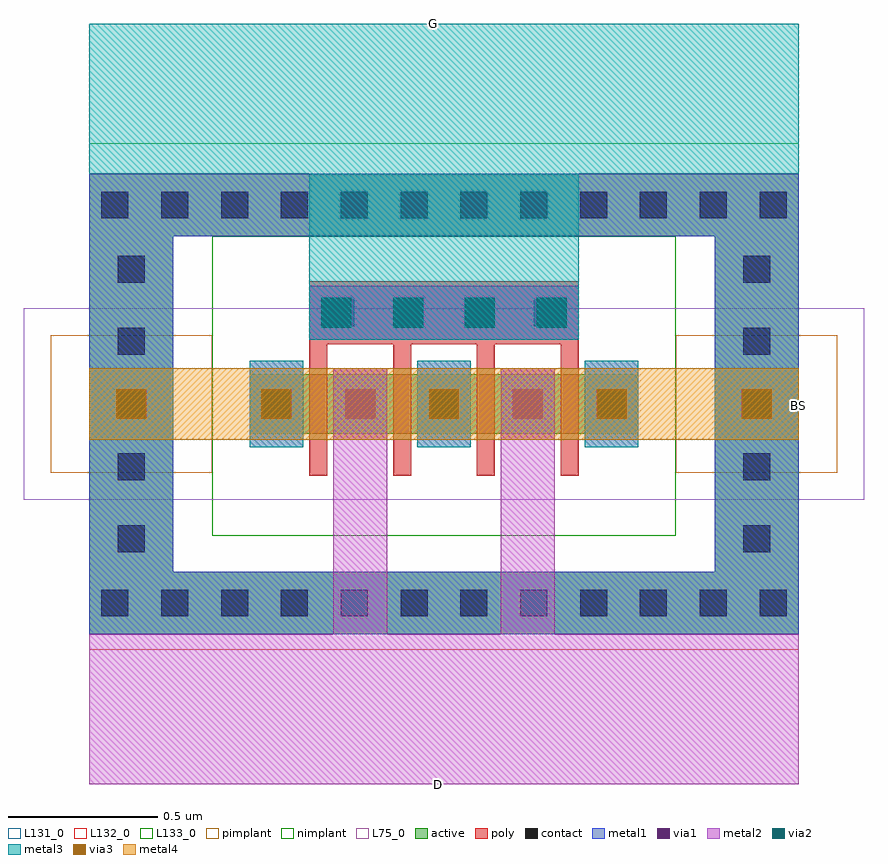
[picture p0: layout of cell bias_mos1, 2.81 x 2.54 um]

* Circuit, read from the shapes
.subckt bias_mos1 BS D G
M1 D G BS BS nfet w=0.2u l=0.06u m=4
.ends

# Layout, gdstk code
import gdstk
lib = gdstk.Library(unit=1e-6, precision=1e-09)
def R(c, l, rs):  # rectangles x0, y0, x1, y1
    for r in rs: c.add(gdstk.rectangle(r[:2], r[2:], *l))
def A(c, l, x, y, w, h, nx, ny, dx, dy):  # array of equal rectangles
    R(c, l, [(x+i*dx, y+j*dy, x+i*dx+w, y+j*dy+h) for i in range(nx) for j in range(ny)])
active = (6, 0)
poly = (17, 0)
pimplant = (25, 0)
nimplant = (26, 0)
contact = (30, 0)
metal1 = (31, 0)
metal2 = (32, 0)
metal3 = (33, 0)
metal4 = (34, 0)
via1 = (51, 0)
via2 = (52, 0)
via3 = (53, 0)
L75_0 = (75, 0)
L131_0 = (131, 0)
L132_0 = (132, 0)
L133_0 = (133, 0)

nch_cdns_760715951210 = lib.new_cell('nch_CDNS_760715951210')
R(nch_cdns_760715951210, active, [(-0.735,0,-0.455,0.2), (-0.195,0,0,0.2), (0,0,0.06,0.2), (0.06,0,0.9,0.2), (0.9,0,1.095,0.2), (1.355,0,1.635,0.2)])
A(nch_cdns_760715951210, poly, 0, -0.14, 0.06, 0.14, 4, 1, 0.28, 0)
A(nch_cdns_760715951210, poly, 0, 0, 0.06, 0.2, 4, 1, 0.28, 0)
A(nch_cdns_760715951210, poly, 0, 0.2, 0.06, 0.1, 4, 1, 0.28, 0)
R(nch_cdns_760715951210, poly, [(0,0.3,0.9,0.51)])
R(nch_cdns_760715951210, pimplant, [(-0.865,-0.13,-0.325,0.33), (1.225,-0.13,1.765,0.33)])
R(nch_cdns_760715951210, nimplant, [(-0.325,-0.34,1.225,0.54), (-0.325,0.15,1.225,0.66)])
A(nch_cdns_760715951210, contact, -0.155, 0.055, 0.09, 0.09, 5, 1, 0.28, 0)
A(nch_cdns_760715951210, contact, 0.06, 0.36, 0.09, 0.09, 4, 1, 0.23, 0)
R(nch_cdns_760715951210, contact, [(-0.64,0.055,-0.55,0.145), (1.45,0.055,1.54,0.145)])
A(nch_cdns_760715951210, metal1, -0.155, -0.02, 0.09, 0.24, 5, 1, 0.28, 0)
R(nch_cdns_760715951210, L75_0, [(-0.955,-0.22,1.855,0.42)])
nch_cdns_760715951210.add(gdstk.FlexPath([(0,0.405),(0.9,0.405)], 0.09, ends="flush", simple_path=True, layer=31, datatype=0))  # metal1
nch_cdns_760715951210.add(gdstk.FlexPath([(1.495,-0.02),(1.495,0.22)], 0.28, ends="flush", simple_path=True, layer=31, datatype=0))  # metal1
nch_cdns_760715951210.add(gdstk.FlexPath([(-0.595,-0.02),(-0.595,0.22)], 0.28, ends="flush", simple_path=True, layer=31, datatype=0))  # metal1
nch_cdns_760715951210.add(gdstk.Label('[@instanceName]', (0.03,0.1), layer=127, texttype=0))
nch_cdns_760715951210.add(gdstk.Label('nch\n0.8/0.06\n', (0,0), layer=127, texttype=0))
nch_cdns_760715951210.add(gdstk.Label('B', (1.495,0.1), layer=127, texttype=0))
nch_cdns_760715951210.add(gdstk.Label('B', (-0.595,0.1), layer=127, texttype=0))
nch_cdns_760715951210.add(gdstk.Label('D', (0.17,0.1), layer=127, texttype=0))
nch_cdns_760715951210.add(gdstk.Label('S', (0.45,0.1), layer=127, texttype=0))
nch_cdns_760715951210.add(gdstk.Label('D', (0.73,0.1), layer=127, texttype=0))
nch_cdns_760715951210.add(gdstk.Label('S', (1.01,0.1), layer=127, texttype=0))
nch_cdns_760715951210.add(gdstk.Label('S', (-0.11,0.1), layer=127, texttype=0))

m3_m2_cdns_760715951210 = lib.new_cell('M3_M2_CDNS_760715951210')
R(m3_m2_cdns_760715951210, metal2, [(-0.45,-0.09,0.45,0.09)])
R(m3_m2_cdns_760715951210, metal3, [(-0.45,-0.09,0.45,0.09)])
A(m3_m2_cdns_760715951210, via2, -0.41, -0.05, 0.1, 0.1, 4, 1, 0.24, 0)

m2_m1_cdns_760715951211 = lib.new_cell('M2_M1_CDNS_760715951211')
R(m2_m1_cdns_760715951211, metal1, [(-0.45,-0.09,0.45,0.09)])
R(m2_m1_cdns_760715951211, metal2, [(-0.45,-0.09,0.45,0.09)])
A(m2_m1_cdns_760715951211, via1, -0.41, -0.05, 0.1, 0.1, 4, 1, 0.24, 0)

m4_m3_cdns_760715951212 = lib.new_cell('M4_M3_CDNS_760715951212')
R(m4_m3_cdns_760715951212, metal3, [(-0.09,-0.145,0.09,0.145)])
R(m4_m3_cdns_760715951212, metal4, [(-0.09,-0.12,0.09,0.12)])
R(m4_m3_cdns_760715951212, via3, [(-0.05,-0.05,0.05,0.05)])

m3_m2_cdns_760715951213 = lib.new_cell('M3_M2_CDNS_760715951213')
R(m3_m2_cdns_760715951213, metal2, [(-0.09,-0.145,0.09,0.145)])
R(m3_m2_cdns_760715951213, metal3, [(-0.09,-0.145,0.09,0.145)])
R(m3_m2_cdns_760715951213, via2, [(-0.05,-0.05,0.05,0.05)])

m2_m1_cdns_760715951214 = lib.new_cell('M2_M1_CDNS_760715951214')
R(m2_m1_cdns_760715951214, metal1, [(-0.09,-0.12,0.09,0.12)])
R(m2_m1_cdns_760715951214, metal2, [(-0.09,-0.145,0.09,0.145)])
R(m2_m1_cdns_760715951214, via1, [(-0.05,-0.05,0.05,0.05)])

m2_m1_cdns_760715951215 = lib.new_cell('M2_M1_CDNS_760715951215')
R(m2_m1_cdns_760715951215, metal1, [(-0.09,-0.12,0.09,0.12)])
R(m2_m1_cdns_760715951215, metal2, [(-0.09,-0.12,0.09,0.12)])
R(m2_m1_cdns_760715951215, via1, [(-0.05,-0.05,0.05,0.05)])

m1_od_cdns_760715951216 = lib.new_cell('M1_OD_CDNS_760715951216')
R(m1_od_cdns_760715951216, active, [(-0.14,-0.23,0.14,0.23)])
R(m1_od_cdns_760715951216, contact, [(-0.045,-0.165,0.045,-0.075), (-0.045,0.075,0.045,0.165)])
R(m1_od_cdns_760715951216, metal1, [(-0.14,-0.23,0.14,0.23)])

m1_od_cdns_760715951217 = lib.new_cell('M1_OD_CDNS_760715951217')
R(m1_od_cdns_760715951217, active, [(-1.185,-0.105,1.185,0.105)])
A(m1_od_cdns_760715951217, contact, -1.145, -0.045, 0.09, 0.09, 12, 1, 0.2, 0)
R(m1_od_cdns_760715951217, metal1, [(-1.185,-0.105,1.185,0.105)])

m4_m3_cdns_760715951218 = lib.new_cell('M4_M3_CDNS_760715951218')
R(m4_m3_cdns_760715951218, metal3, [(-0.14,-0.12,0.14,0.12)])
R(m4_m3_cdns_760715951218, metal4, [(-0.14,-0.12,0.14,0.12)])
R(m4_m3_cdns_760715951218, via3, [(-0.05,-0.05,0.05,0.05)])

m3_m2_cdns_760715951219 = lib.new_cell('M3_M2_CDNS_760715951219')
R(m3_m2_cdns_760715951219, metal2, [(-0.14,-0.12,0.14,0.12)])
R(m3_m2_cdns_760715951219, metal3, [(-0.14,-0.12,0.14,0.12)])
R(m3_m2_cdns_760715951219, via2, [(-0.05,-0.05,0.05,0.05)])

m2_m1_cdns_7607159512110 = lib.new_cell('M2_M1_CDNS_7607159512110')
R(m2_m1_cdns_7607159512110, metal1, [(-0.14,-0.12,0.14,0.12)])
R(m2_m1_cdns_7607159512110, metal2, [(-0.14,-0.12,0.14,0.12)])
R(m2_m1_cdns_7607159512110, via1, [(-0.05,-0.05,0.05,0.05)])

bias_mos1 = lib.new_cell('bias_mos1')
R(bias_mos1, metal2, [(0.22,0,2.59,0.5), (1.035,0.23,1.215,1.15), (1.595,0.23,1.775,1.15)])
R(bias_mos1, metal3, [(0.955,1.665,1.855,2.175), (0.22,2.04,2.59,2.54)])
R(bias_mos1, metal4, [(0.49,1.15,2.485,1.39)])
R(bias_mos1, L131_0, [(2.31,1.15,2.59,1.39)])
R(bias_mos1, L132_0, [(0.22,0,2.59,0.45)])
R(bias_mos1, L133_0, [(0.22,2.14,2.59,2.54)])
bias_mos1.add(gdstk.Reference(nch_cdns_760715951210, (0.955,1.17)))
bias_mos1.add(gdstk.Reference(m3_m2_cdns_760715951210, (1.405,1.575)))
bias_mos1.add(gdstk.Reference(m2_m1_cdns_760715951211, (1.405,1.575)))
bias_mos1.add(gdstk.Reference(m4_m3_cdns_760715951212, (1.965,1.27)))
bias_mos1.add(gdstk.Reference(m4_m3_cdns_760715951212, (1.405,1.27)))
bias_mos1.add(gdstk.Reference(m4_m3_cdns_760715951212, (0.845,1.27)))
bias_mos1.add(gdstk.Reference(m3_m2_cdns_760715951213, (1.965,1.27)))
bias_mos1.add(gdstk.Reference(m3_m2_cdns_760715951213, (1.405,1.27)))
bias_mos1.add(gdstk.Reference(m3_m2_cdns_760715951213, (0.845,1.27)))
bias_mos1.add(gdstk.Reference(m2_m1_cdns_760715951214, (1.965,1.27)))
bias_mos1.add(gdstk.Reference(m2_m1_cdns_760715951214, (1.405,1.27)))
bias_mos1.add(gdstk.Reference(m2_m1_cdns_760715951214, (0.845,1.27)))
bias_mos1.add(gdstk.Reference(m2_m1_cdns_760715951215, (1.685,1.27)))
bias_mos1.add(gdstk.Reference(m2_m1_cdns_760715951215, (1.125,1.27)))
bias_mos1.add(gdstk.Reference(m1_od_cdns_760715951216, (0.36,0.94), x_reflection=True))
bias_mos1.add(gdstk.Reference(m1_od_cdns_760715951216, (2.45,0.94), x_reflection=True))
bias_mos1.add(gdstk.Reference(m1_od_cdns_760715951216, (0.36,1.6)))
bias_mos1.add(gdstk.Reference(m1_od_cdns_760715951216, (2.45,1.6)))
bias_mos1.add(gdstk.Reference(m1_od_cdns_760715951217, (1.405,0.605), x_reflection=True))
bias_mos1.add(gdstk.Reference(m1_od_cdns_760715951217, (1.405,1.935)))
bias_mos1.add(gdstk.Reference(m4_m3_cdns_760715951218, (0.36,1.27)))
bias_mos1.add(gdstk.Reference(m4_m3_cdns_760715951218, (2.45,1.27)))
bias_mos1.add(gdstk.Reference(m3_m2_cdns_760715951219, (0.36,1.27)))
bias_mos1.add(gdstk.Reference(m3_m2_cdns_760715951219, (2.45,1.27)))
bias_mos1.add(gdstk.Reference(m2_m1_cdns_7607159512110, (0.36,1.27)))
bias_mos1.add(gdstk.Reference(m2_m1_cdns_7607159512110, (2.45,1.27)))
bias_mos1.add(gdstk.Label('G', (1.37,2.54), layer=133, texttype=0))
bias_mos1.add(gdstk.Label('D', (1.385,0), layer=132, texttype=0))
bias_mos1.add(gdstk.Label('BS', (2.59,1.265), layer=131, texttype=0))

lib.write_gds('bias_mos1.gds')
